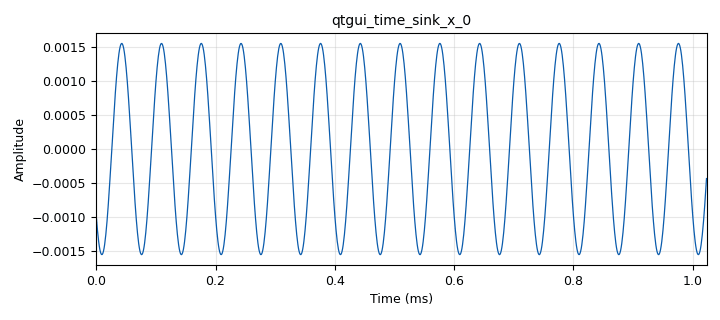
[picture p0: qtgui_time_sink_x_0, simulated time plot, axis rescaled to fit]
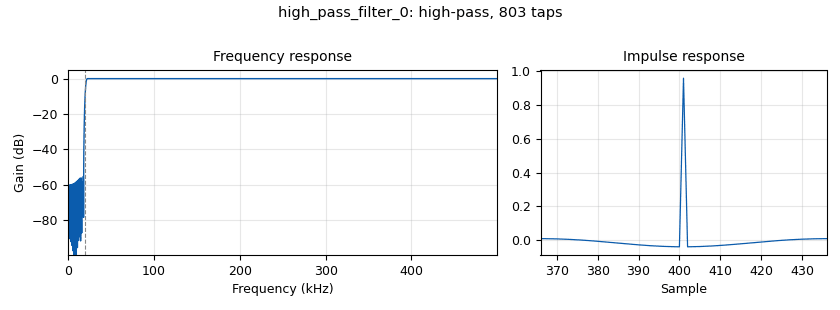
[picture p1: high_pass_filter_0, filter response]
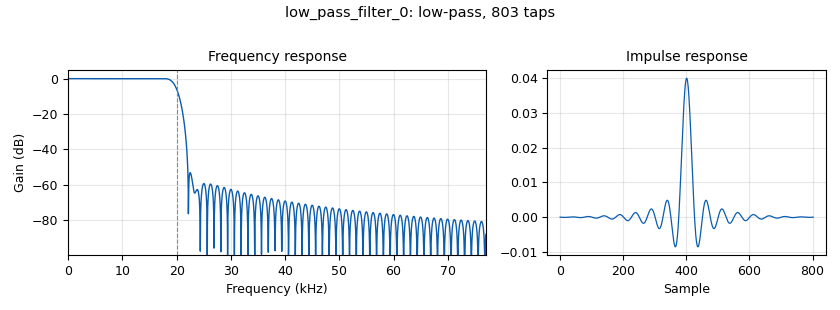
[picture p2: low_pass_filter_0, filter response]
options:
  parameters:
    author: lucky
    generate_options: qt_gui
    id: filtre_passe_bande
    output_language: python
    title: Not titled yet
  states: {}

blocks:
- name: samp_rate
  id: variable
  parameters:
    value: '1000000'
  states: {}
- name: analog_sig_source_x_0
  id: analog_sig_source_x
  parameters:
    amp: '1'
    freq: '15000'
    offset: '0'
    phase: '0'
    samp_rate: samp_rate
    type: float
    waveform: analog.GR_SIN_WAVE
  states: {}
- name: blocks_throttle_0
  id: blocks_throttle
  parameters:
    samples_per_second: samp_rate
    type: float
  states: {}
- name: high_pass_filter_0
  id: high_pass_filter
  parameters:
    cutoff_freq: '20000'
    gain: '1'
    interp: '1'
    samp_rate: samp_rate
    type: interp_fir_filter_fff
    width: '3000'
    win: window.WIN_HAMMING
  states: {}
- name: low_pass_filter_0
  id: low_pass_filter
  parameters:
    cutoff_freq: '20000'
    gain: '1'
    interp: '1'
    samp_rate: samp_rate
    type: interp_fir_filter_fff
    width: '3000'
    win: window.WIN_HAMMING
  states: {}
- name: qtgui_time_sink_x_0
  id: qtgui_time_sink_x
  parameters:
    ctrlpanel: 'True'
    size: '1024'
    srate: samp_rate
    type: float
  states: {}

connections:
- [analog_sig_source_x_0, '0', low_pass_filter_0, '0']
- [blocks_throttle_0, '0', qtgui_time_sink_x_0, '0']
- [high_pass_filter_0, '0', blocks_throttle_0, '0']
- [low_pass_filter_0, '0', high_pass_filter_0, '0']

metadata:
  file_format: 1
